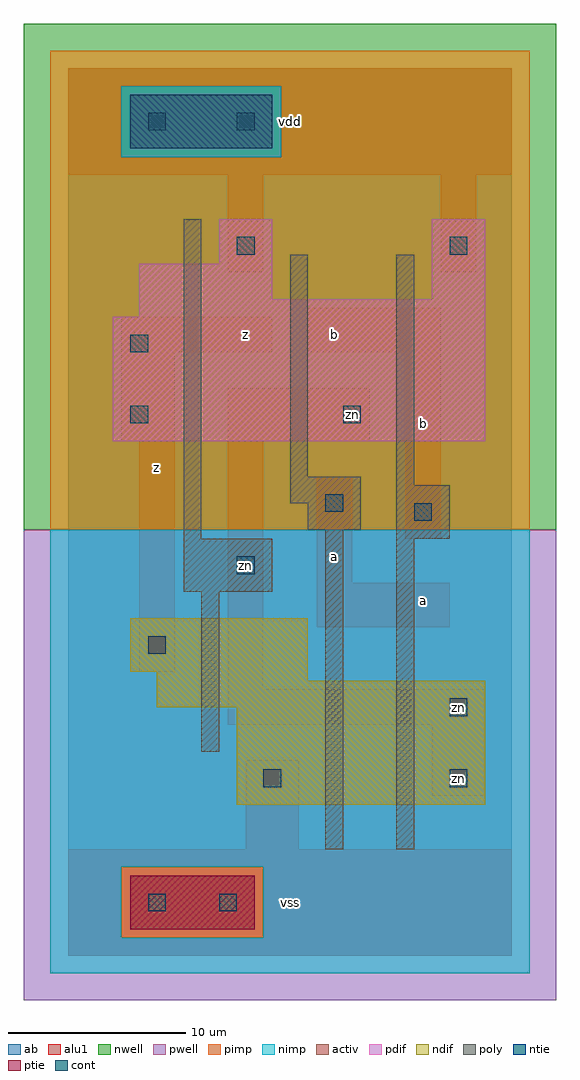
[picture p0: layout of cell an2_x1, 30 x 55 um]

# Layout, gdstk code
import gdstk
lib = gdstk.Library(unit=1e-6, precision=1e-09)
def R(c, l, rs):  # rectangles x0, y0, x1, y1
    for r in rs: c.add(gdstk.rectangle(r[:2], r[2:], *l))
ndif = (3, 0)
pdif = (4, 0)
ntie = (5, 0)
ptie = (6, 0)
cont = (25, 0)
pwell = (41, 0)
nwell = (42, 0)
activ = (43, 0)
pimp = (44, 0)
nimp = (45, 0)
poly = (46, 0)
alu1 = (49, 0)
ab = (63, 0)

an2_x1 = lib.new_cell('an2_x1')
R(an2_x1, ndif, [(9.5,8.5,23.5,14), (5,14,23.5,15.5), (5,15.5,13.5,16), (3.5,16,13.5,19)])
R(an2_x1, pdif, [(2.5,29,23.5,36), (4,36,23.5,37), (4,37,11.5,39), (20.5,37,23.5,41.5), (8.5,39,11.5,41.5)])
R(an2_x1, ntie, [(3.5,45.5,11.5,48.5)])
R(an2_x1, ptie, [(3.5,1.5,10.5,4.5)])
R(an2_x1, cont, [(4.5,2.5,5.5,3.5), (8.5,2.5,9.5,3.5), (11,9.5,12,10.5), (21.5,9.5,22.5,10.5), (21.5,13.5,22.5,14.5), (4.5,17,5.5,18), (9.5,21.5,10.5,22.5), (19.5,24.5,20.5,25.5), (14.5,25,15.5,26), (3.5,30,4.5,31), (15.5,30,16.5,31), (3.5,34,4.5,35), (9.5,39.5,10.5,40.5), (21.5,39.5,22.5,40.5), (4.5,46.5,5.5,47.5), (9.5,46.5,10.5,47.5)])
R(an2_x1, pwell, [(-2.5,-2.5,27.5,24)])
R(an2_x1, nwell, [(-2.5,24,27.5,52.5)])
R(an2_x1, activ, [(3.5,1.5,10.5,4.5), (9.5,8.5,23.5,14), (5,14,23.5,15.5), (5,15.5,13.5,16), (3.5,16,13.5,19), (2.5,29,23.5,36), (4,36,23.5,37), (4,37,11.5,39), (20.5,37,23.5,41.5), (8.5,39,11.5,41.5), (3.5,45.5,11.5,48.5)])
R(an2_x1, pimp, [(3,1,11,5), (-1,24,26,45), (-1,45,3,49), (12,45,26,49), (-1,49,26,51)])
R(an2_x1, nimp, [(-1,-1,26,1), (-1,1,3,5), (11,1,26,5), (-1,5,26,24), (3,45,12,49)])
R(an2_x1, poly, [(14.5,6,15.5,24), (18.5,6,19.5,23.5), (7.5,11.5,8.5,20.5), (6.5,20.5,11.5,23.5), (6.5,23.5,7.5,41.5), (18.5,23.5,21.5,26.5), (13.5,24,16.5,25.5), (12.5,25.5,16.5,27), (18.5,26.5,19.5,39.5), (12.5,27,13.5,39.5)])
R(an2_x1, alu1, [(0,0,25,6), (0,0,25,6), (10,6,13,11), (10,6,13,11), (20.5,9,23.5,13), (20.5,9,23.5,13), (9,13,23.5,15), (9,13,23.5,15), (9,15,11,29), (9,15,11,29), (4,16,6,29), (4,16,6,29), (14,18.5,21.5,21), (14,18.5,21.5,21), (14,21,16,27), (14,21,16,27), (19,23.5,21,34), (19,23.5,21,34), (3,29,6,34), (3,29,6,34), (9,29,17,32), (9,29,17,32), (3,34,11.5,36), (3,34,11.5,36), (13.5,34,21,36.5), (13.5,34,21,36.5), (9,38.5,11,44), (9,38.5,11,44), (21,38.5,23,44), (21,38.5,23,44), (0,44,25,50), (0,44,25,50)])
R(an2_x1, ab, [(0,0,25,50)])
an2_x1.add(gdstk.Label('zn', (10,22), layer=49, texttype=0))
an2_x1.add(gdstk.Label('zn', (22,10), layer=49, texttype=0))
an2_x1.add(gdstk.Label('zn', (22,14), layer=49, texttype=0))
an2_x1.add(gdstk.Label('zn', (16,30.5), layer=49, texttype=0))
an2_x1.add(gdstk.Label('z', (5,27.5), layer=49, texttype=0))
an2_x1.add(gdstk.Label('z', (10,35), layer=49, texttype=0))
an2_x1.add(gdstk.Label('vss', (12.5,3), layer=49, texttype=0))
an2_x1.add(gdstk.Label('a', (15,22.5), layer=49, texttype=0))
an2_x1.add(gdstk.Label('b', (15,35), layer=49, texttype=0))
an2_x1.add(gdstk.Label('vdd', (12.5,47), layer=49, texttype=0))
an2_x1.add(gdstk.Label('a', (20,20), layer=49, texttype=0))
an2_x1.add(gdstk.Label('b', (20,30), layer=49, texttype=0))

lib.write_gds('an2_x1.gds')
